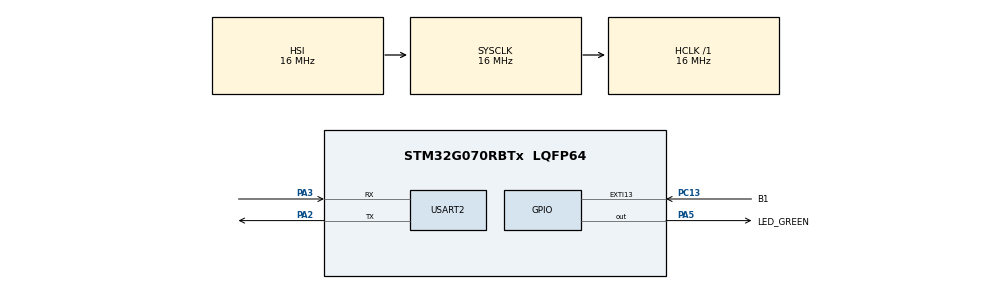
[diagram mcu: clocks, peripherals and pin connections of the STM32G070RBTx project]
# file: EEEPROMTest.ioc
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Mcu.Family=STM32G0
Mcu.Name=STM32G070RBTx
Mcu.Package=LQFP64
NVIC.EXTI4_15_IRQn=true\:0\:0\:false\:false\:true\:true\:true\:true
PA13.GPIO_Label=TMS
PA13.Mode=Serial_Wire
PA13.Signal=SYS_SWDIO
PA14-BOOT0.GPIO_Label=TCK
PA14-BOOT0.Mode=Serial_Wire
PA14-BOOT0.Signal=SYS_SWCLK
PA2.GPIO_PuPd=GPIO_PULLUP
PA2.Mode=Asynchronous
PA2.Signal=USART2_TX
PA3.GPIO_PuPd=GPIO_PULLUP
PA3.Mode=Asynchronous
PA3.Signal=USART2_RX
PA5.GPIO_Label=LED_GREEN
PA5.GPIO_Speed=GPIO_SPEED_FREQ_HIGH
PA5.Signal=GPIO_Output
PC13.GPIO_Label=B1
PC13.GPIO_ModeDefaultEXTI=GPIO_MODE_IT_FALLING
PC13.Signal=GPXTI13
PC14-OSC32_IN\ (PC14).Mode=LSE-External-Oscillator
PC14-OSC32_IN\ (PC14).Signal=RCC_OSC32_IN
PC15-OSC32_OUT\ (PC15).Mode=LSE-External-Oscillator
PC15-OSC32_OUT\ (PC15).Signal=RCC_OSC32_OUT
PF0-OSC_IN\ (PF0).GPIO_Label=MCO
PF0-OSC_IN\ (PF0).Mode=HSE-External-Clock-Source
PF0-OSC_IN\ (PF0).Signal=RCC_OSC_IN
ProjectManager.HeapSize=0x200
ProjectManager.StackSize=0x400
ProjectManager.TargetToolchain=STM32CubeIDE
RCC.AHBFreq_Value=16000000
RCC.CortexFreq_Value=16000000
RCC.EXTERNAL_CLOCK_VALUE=12288000
RCC.HCLKFreq_Value=16000000
RCC.HSE_VALUE=8000000
RCC.HSI_VALUE=16000000
RCC.SYSCLKFreq_VALUE=16000000
RCC.VCOOutputFreq_Value=128000000
USART2.VirtualMode-Asynchronous=VM_ASYNC
USART2.WordLength=WORDLENGTH_8B
board=NUCLEO-G070RB

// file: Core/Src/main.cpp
/* USER CODE BEGIN Header */
/**
  ******************************************************************************
  * @file           : main.c
  * @brief          : Main program body
  ******************************************************************************
  * @attention
  *
  * Copyright (c) 2022 STMicroelectronics.
  * All rights reserved.
  *
  * This software is licensed under terms that can be found in the LICENSE file
  * in the root directory of this software component.
  * If no LICENSE file comes with this software, it is provided AS-IS.
  *
  ******************************************************************************
  */
/* USER CODE END Header */
#include "main.h"

/* USER CODE BEGIN Includes */
#include "eeprom_emul.h"
/* USER CODE END Includes */

UART_HandleTypeDef huart2;

/* USER CODE BEGIN PV */
uint32_t VarValue = 1;
EE_Status ee_status = EE_OK;
/* USER CODE END PV */

void SystemClock_Config(void);
static void MX_GPIO_Init(void);
static void MX_USART2_UART_Init(void);
/* USER CODE BEGIN PFP */
void HAL_GPIO_EXTI_Falling_Callback(uint16_t);

/* USER CODE END PFP */

int main(void)
{
  /* USER CODE BEGIN 1 */
	/* Enable and set FLASH Interrupt priority */
	/* FLASH interrupt is used for the purpose of pages clean up under interrupt */
	HAL_NVIC_SetPriority(FLASH_IRQn, 0, 0);
	HAL_NVIC_EnableIRQ(FLASH_IRQn);
  /* Unlock the Flash Program Erase controller */
  HAL_FLASH_Unlock();
  /* USER CODE END 1 */

  /* MCU Configuration--------------------------------------------------------*/

  /* Reset of all peripherals, Initializes the Flash interface and the Systick. */
  HAL_Init();

  /* Configure the system clock */
  SystemClock_Config();

  /* Initialize all configured peripherals */
  MX_GPIO_Init();
  MX_USART2_UART_Init();
  /* USER CODE BEGIN 2 */
  RetargetInit(&huart2);
  printf("Starting\n");
  ee_status = EE_Init(EE_FORCED_ERASE);
  printf("Flash init : %d\n", ee_status);
  ee_status = EE_ReadVariable32bits(1, &VarValue);
  if (ee_status == EE_OK) printf("Variable : %lu\n", VarValue);
  /* USER CODE END 2 */

  /* Infinite loop */
  while (1)
  {

  }
}

void SystemClock_Config(void)
{
  RCC_OscInitTypeDef RCC_OscInitStruct = {0};
  RCC_ClkInitTypeDef RCC_ClkInitStruct = {0};

  /** Configure the main internal regulator output voltage
  */
  HAL_PWREx_ControlVoltageScaling(PWR_REGULATOR_VOLTAGE_SCALE1);

  /** Initializes the RCC Oscillators according to the specified parameters
  * in the RCC_OscInitTypeDef structure.
  */
  RCC_OscInitStruct.OscillatorType = RCC_OSCILLATORTYPE_HSI;
  RCC_OscInitStruct.HSIState = RCC_HSI_ON;
  RCC_OscInitStruct.HSIDiv = RCC_HSI_DIV1;
  RCC_OscInitStruct.HSICalibrationValue = RCC_HSICALIBRATION_DEFAULT;
  RCC_OscInitStruct.PLL.PLLState = RCC_PLL_NONE;
  if (HAL_RCC_OscConfig(&RCC_OscInitStruct) != HAL_OK)
  {
    Error_Handler();
  }

  /** Initializes the CPU, AHB and APB buses clocks
  */
  RCC_ClkInitStruct.ClockType = RCC_CLOCKTYPE_HCLK|RCC_CLOCKTYPE_SYSCLK
                              |RCC_CLOCKTYPE_PCLK1;
  RCC_ClkInitStruct.SYSCLKSource = RCC_SYSCLKSOURCE_HSI;
  RCC_ClkInitStruct.AHBCLKDivider = RCC_SYSCLK_DIV1;
  RCC_ClkInitStruct.APB1CLKDivider = RCC_HCLK_DIV1;

  if (HAL_RCC_ClockConfig(&RCC_ClkInitStruct, FLASH_LATENCY_0) != HAL_OK)
  {
    Error_Handler();
  }
}

static void MX_USART2_UART_Init(void)
{

  huart2.Instance = USART2;
  huart2.Init.BaudRate = 115200;
  huart2.Init.WordLength = UART_WORDLENGTH_8B;
  huart2.Init.StopBits = UART_STOPBITS_1;
  huart2.Init.Parity = UART_PARITY_NONE;
  huart2.Init.Mode = UART_MODE_TX_RX;
  huart2.Init.HwFlowCtl = UART_HWCONTROL_NONE;
  huart2.Init.OverSampling = UART_OVERSAMPLING_16;
  huart2.Init.OneBitSampling = UART_ONE_BIT_SAMPLE_DISABLE;
  huart2.Init.ClockPrescaler = UART_PRESCALER_DIV1;
  huart2.AdvancedInit.AdvFeatureInit = UART_ADVFEATURE_NO_INIT;
  if (HAL_UART_Init(&huart2) != HAL_OK)
  {
    Error_Handler();
  }
  if (HAL_UARTEx_SetTxFifoThreshold(&huart2, UART_TXFIFO_THRESHOLD_1_8) != HAL_OK)
  {
    Error_Handler();
  }
  if (HAL_UARTEx_SetRxFifoThreshold(&huart2, UART_RXFIFO_THRESHOLD_1_8) != HAL_OK)
  {
    Error_Handler();
  }
  if (HAL_UARTEx_DisableFifoMode(&huart2) != HAL_OK)
  {
    Error_Handler();
  }

}

static void MX_GPIO_Init(void)
{
  GPIO_InitTypeDef GPIO_InitStruct = {0};

  /* GPIO Ports Clock Enable */
  __HAL_RCC_GPIOC_CLK_ENABLE();
  __HAL_RCC_GPIOF_CLK_ENABLE();
  __HAL_RCC_GPIOA_CLK_ENABLE();

  /*Configure GPIO pin Output Level */
  HAL_GPIO_WritePin(LED_GREEN_GPIO_Port, LED_GREEN_Pin, GPIO_PIN_RESET);

  /*Configure GPIO pin : B1_Pin */
  GPIO_InitStruct.Pin = B1_Pin;
  GPIO_InitStruct.Mode = GPIO_MODE_IT_FALLING;
  GPIO_InitStruct.Pull = GPIO_NOPULL;
  HAL_GPIO_Init(B1_GPIO_Port, &GPIO_InitStruct);

  /*Configure GPIO pin : LED_GREEN_Pin */
  GPIO_InitStruct.Pin = LED_GREEN_Pin;
  GPIO_InitStruct.Mode = GPIO_MODE_OUTPUT_PP;
  GPIO_InitStruct.Pull = GPIO_NOPULL;
  GPIO_InitStruct.Speed = GPIO_SPEED_FREQ_HIGH;
  HAL_GPIO_Init(LED_GREEN_GPIO_Port, &GPIO_InitStruct);

  /* EXTI interrupt init*/
  HAL_NVIC_SetPriority(EXTI4_15_IRQn, 0, 0);
  HAL_NVIC_EnableIRQ(EXTI4_15_IRQn);

}

/* USER CODE BEGIN 4 */
// EXTI Line9 External Interrupt ISR Handler CallBackFun
void HAL_GPIO_EXTI_Falling_Callback(uint16_t GPIO_Pin) {
	  if(GPIO_Pin == B1_Pin) // If The INT Source Is EXTI Line9 (A9 Pin)
    {
		  HAL_GPIO_TogglePin(LED_GREEN_GPIO_Port, LED_GREEN_Pin); // Toggle The Output (LED) Pin
		  VarValue++;
		  ee_status = EE_WriteVariable32bits(1, VarValue);
		  ee_status = EE_ReadVariable32bits(1, &VarValue);
		  if (ee_status == EE_OK) printf("Variable : %lu\n", VarValue);    }
}
/* USER CODE END 4 */

void Error_Handler(void)
{
  /* USER CODE BEGIN Error_Handler_Debug */
  /* User can add his own implementation to report the HAL error return state */
  __disable_irq();
  printf("Fault occurred, program stopped !");
  while (1)
  {
  }
  /* USER CODE END Error_Handler_Debug */
}
